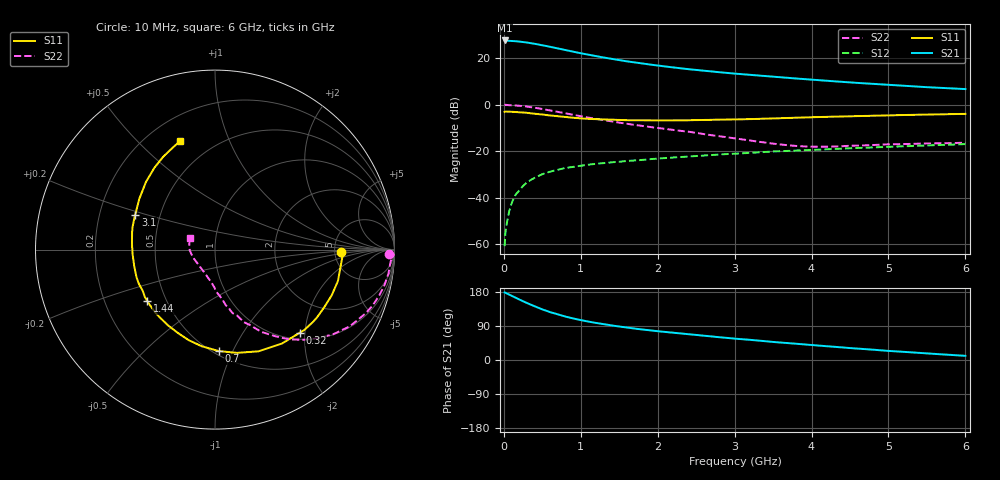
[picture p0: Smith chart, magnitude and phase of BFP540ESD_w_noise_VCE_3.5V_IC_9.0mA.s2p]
! Infineon Technologies  Discrete & RF Semiconductors
! BFP540ESD
! VCE =  3.5 V,  IC =  9.0 mA
! Common Emitter S-Parameters:  Nov 2015
# GHz  S  MA  R  50
!  f  S11  S21  S12  S22
! GHz  MAG  ANG  MAG  ANG  MAG  ANG  MAG  ANG
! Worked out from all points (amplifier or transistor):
!   210 points, 10 MHz to 6 GHz, reference 50 ohm
!   highest |S21| = 27.7 dB at 10 MHz (marker M1)
!   |S21| within 3 dB of that: start of sweep to 640.2 MHz
!   unconditionally stable (mu >= 1): 2.848 GHz to end of sweep
!   at 185 MHz: K = 0.12, MSG = 32.4 dB, |S12| = -37.5 dB
!   at 1.52 GHz: K = 0.69, MSG = 21.8 dB, |S12| = -24.5 dB
!   at 6 GHz: K = 1.16, MAG = 9.4 dB, |S12| = -17.0 dB
!   lowest NFmin = 0.83 dB at 900 MHz
!   S11 on the Smith chart (normalised r, x): 10 MHz: 5.70, -0.33; 320 MHz: 1.14, -1.88; 700 MHz: 0.53, -0.89; 1.44 GHz: 0.39, -0.29; 3.1 GHz: 0.36, +0.18; 6 GHz: 0.33, +0.68
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0.01  0.7025 -1.2  24.18 178.3  0.0009 63.6  0.9704 -1.4
0.02  0.7109 -3.3  24.07 177.7  0.0017 74.8  0.9962 -1.6
0.06  0.7061 -8.5  23.8 173.5  0.0043 82.1  0.9792 -4.7
0.15  0.6984 -21.4  23.38 164.6  0.0113 80.6  0.965 -11.8
0.24  0.6824 -33.7  22.49 155.9  0.0171 74.8  0.9362 -18.5
0.32  0.6615 -44.4  21.54 148.6  0.0223 70.8  0.9014 -24.2
0.4  0.6425 -54.6  20.5 141.5  0.0267 66.8  0.8644 -29.6
0.5  0.6161 -66.9  19.18 133.5  0.0319 63.0  0.8092 -35.7
0.6  0.5884 -77.9  17.66 126.4  0.0362 60.1  0.7538 -41.0
0.7  0.5659 -87.8  16.36 120.5  0.0398 56.5  0.7026 -45.7
0.8  0.5434 -97.9  15.06 114.6  0.0434 53.9  0.6516 -50.2
0.9  0.5254 -106.2  13.87 109.6  0.0459 52.1  0.6069 -53.7
1.02  0.505 -115.6  12.63 104.5  0.0491 50.0  0.5576 -57.7
1.2  0.4883 -128.5  11.08 97.6  0.0534 47.6  0.4945 -62.8
1.44  0.474 -142.6  9.474 90.1  0.0583 45.4  0.426 -68.8
1.7  0.465 -155.8  8.13 82.9  0.0631 43.7  0.3677 -74.5
2.02  0.4591 -169.1  6.902 75.5  0.0695 42.0  0.3133 -79.2
2.58  0.4682 171.4  5.423 64.2  0.0802 39.4  0.2349 -88.1
3.1  0.4852 156.3  4.531 54.9  0.0899 36.9  0.1789 -97.8
4.1  0.5431 133.7  3.368 37.9  0.1079 30.8  0.1246 -143.3
5.1  0.596 117.9  2.619 22.8  0.1257 24.1  0.1412 179.2
6  0.6354 107.7  2.169 11.0  0.1417 18.8  0.152 155.1
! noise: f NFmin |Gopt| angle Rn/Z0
0.9  0.83  0.08  -128  0.11
1.8  1.03  0.14  -161  0.1
2.4  1.04  0.14  -156  0.1
3  1.16  0.21  -156  0.1
4  1.29  0.34  -115  0.15
5  1.48  0.45  -92  0.27
6  1.72  0.53  -95  0.5
